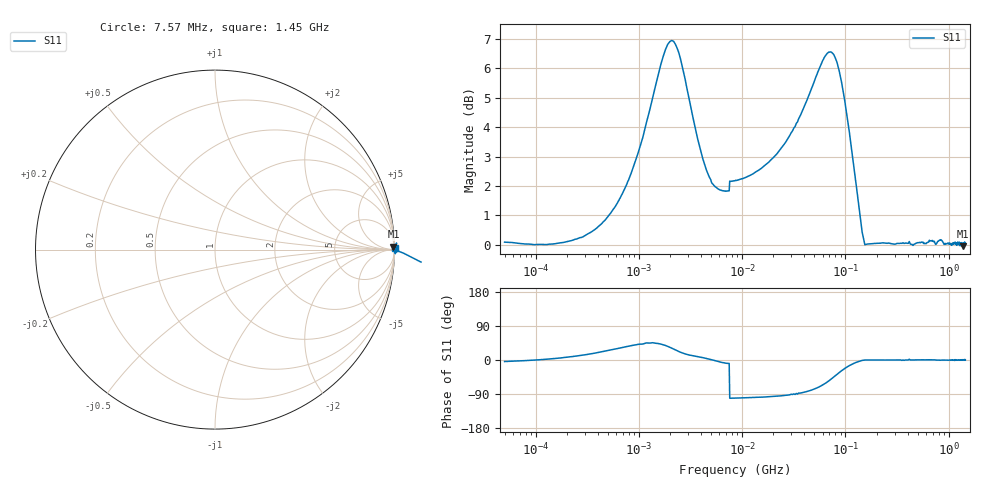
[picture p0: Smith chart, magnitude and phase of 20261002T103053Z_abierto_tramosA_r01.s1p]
! piloto_saltos / abierto_tramosA / r01
# HZ S RI R 50
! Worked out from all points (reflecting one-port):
!   501 points, 50 kHz to 1.45 GHz, reference 50 ohm
!   lowest |S11| = -0.1 dB at 1.36 GHz (marker M1), VSWR 335.91, Z = 2.15e+03 + j5.62e+03 ohm
!   phase of S11 starts at -4 deg and turns +4 deg over the sweep
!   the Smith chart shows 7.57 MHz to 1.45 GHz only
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50000  1.007 -0.0702
183000  1.003 0.1064
363500  1.009 0.3186
658000  1.022 0.6299
1180000  1.138 1.142
1630000  1.507 1.356
1990000  1.846 1.226
2440000  1.962 0.7989
3070000  1.721 0.4012
4330000  1.362 0.1223
7300000  1.219 -0.1921
7750000  -0.2411 -1.259
8560000  -0.2337 -1.264
1.81e7  -0.1692 -1.372
3.16e7  0.017 -1.579
4.69e7  0.3386 -1.812
5.68e7  0.6966 -1.885
6.49e7  1.044 -1.826
7.39e7  1.397 -1.599
8.65e7  1.652 -1.099
9.82e7  1.627 -0.675
1e8  1.609 -0.6193
1.18e8  1.377 -0.2452
1.36e8  1.148 -0.0695
1.63e8  1.002 -0.000503
4.06e8  1.005 0.000286
1.36e9  0.9939 0.0154
1.45e9  1.003 0.00855
